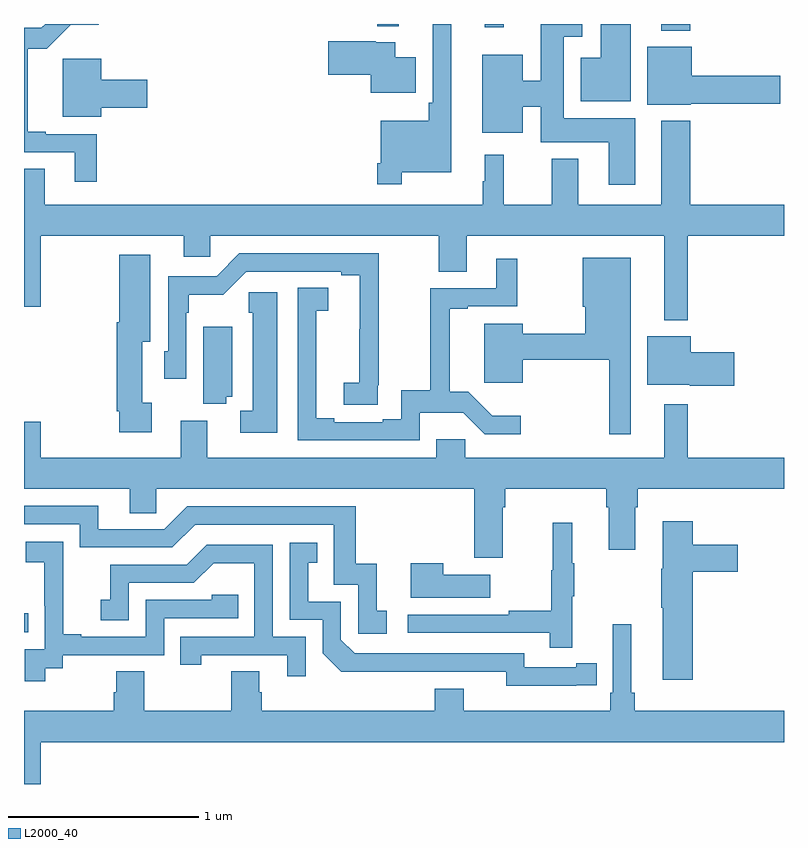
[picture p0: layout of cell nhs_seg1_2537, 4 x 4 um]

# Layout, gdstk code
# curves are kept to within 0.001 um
import gdstk
lib = gdstk.Library(unit=1e-6, precision=1e-09)
def R(c, l, rs):  # rectangles x0, y0, x1, y1
    for r in rs: c.add(gdstk.rectangle(r[:2], r[2:], *l))
def P(c, l, *ps):  # polygons
    for p in ps: c.add(gdstk.Polygon(p, *l))
L2000_40 = (2000, 40)

nhs_seg1_2537 = lib.new_cell('nhs_seg1_2537')
R(nhs_seg1_2537, L2000_40, [(249,530.997,249.023,531.098), (252.353,534.164,252.506,534.199), (251.426,534.183,251.525,534.199), (250.86,534.188,250.973,534.199)])
P(nhs_seg1_2537, L2000_40, [(249.383,533.619),(249.115,533.619),(249.115,533.632),(249.02,533.632),(249.02,534.069),(249.119,534.069),(249.245,534.194),(249.394,534.194),(249.394,534.199),(249.112,534.199),(249.091,534.178),(249,534.178),(249,533.523),(249.266,533.523),(249.266,533.37),(249.383,533.37)],
  [(250.987,533.42),(251.248,533.42),(251.248,534.199),(251.151,534.199),(251.151,533.785),(251.131,533.785),(251.131,533.689),(250.878,533.689),(250.878,533.467),(250.858,533.467),(250.858,533.355),(250.987,533.355)],
  [(252.217,533.704),(251.842,533.704),(251.842,534.131),(251.938,534.131),(251.938,534.199),(251.72,534.199),(251.72,533.9),(251.626,533.9),(251.626,534.037),(251.411,534.037),(251.411,533.627),(251.626,533.627),(251.626,533.764),(251.72,533.764),(251.72,533.576),(252.077,533.576),(252.077,533.352),(252.217,533.352)],
  [(252.193,534.199),(252.035,534.199),(252.035,534.022),(251.93,534.022),(251.93,533.792),(252.193,533.792)],
  [(251.062,534.025),(250.954,534.025),(250.954,534.103),(250.85,534.103),(250.85,534.108),(250.602,534.108),(250.602,533.933),(250.826,533.933),(250.826,533.837),(251.062,533.837)],
  [(252.51,533.78),(252.979,533.78),(252.979,533.927),(252.514,533.927),(252.514,534.079),(252.281,534.079),(252.281,533.774),(252.51,533.774)],
  [(249.406,533.759),(249.649,533.759),(249.649,533.906),(249.406,533.906),(249.406,534.016),(249.203,534.016),(249.203,533.711),(249.406,533.711)],
  [(252.493,533.084),(253,533.084),(253,533.248),(252.506,533.248),(252.506,533.689),(252.353,533.689),(252.353,533.248),(251.917,533.248),(251.917,533.491),(251.777,533.491),(251.777,533.248),(251.526,533.248),(251.526,533.512),(251.426,533.512),(251.426,533.372),(251.415,533.372),(251.415,533.248),(249.109,533.248),(249.109,533.438),(249,533.438),(249,532.71),(249.088,532.71),(249.088,533.084),(249.842,533.084),(249.842,532.974),(249.981,532.974),(249.981,533.084),(251.182,533.084),(251.182,532.894),(251.329,532.894),(251.329,533.084),(252.371,533.084),(252.371,532.64),(252.493,532.64)],
  [(250.862,532.297),(250.868,532.297),(250.868,532.992),(250.134,532.992),(250.014,532.872),(249.759,532.872),(249.759,532.476),(249.738,532.476),(249.738,532.332),(249.855,532.332),(249.855,532.679),(249.868,532.679),(249.868,532.775),(250.049,532.775),(250.17,532.896),(250.67,532.896),(250.67,532.876),(250.766,532.876),(250.765,532.31),(250.683,532.31),(250.683,532.195),(250.862,532.195)],
  [(249.673,532.206),(249.622,532.206),(249.622,532.526),(249.664,532.526),(249.664,532.984),(249.5,532.984),(249.5,532.63),(249.488,532.63),(249.488,532.162),(249.5,532.162),(249.5,532.05),(249.673,532.05)],
  [(252.193,532.969),(251.942,532.969),(251.942,532.71),(251.954,532.71),(251.954,532.568),(251.626,532.568),(251.626,532.621),(251.423,532.621),(251.423,532.311),(251.626,532.311),(251.626,532.432),(252.079,532.432),(252.079,532.041),(252.193,532.041)],
  [(251.082,532.154),(251.311,532.154),(251.424,532.041),(251.614,532.041),(251.614,532.138),(251.465,532.138),(251.339,532.264),(251.24,532.264),(251.24,532.701),(251.335,532.701),(251.335,532.713),(251.596,532.713),(251.596,532.963),(251.486,532.963),(251.486,532.809),(251.137,532.809),(251.137,532.271),(250.986,532.271),(250.986,532.118),(250.889,532.118),(250.889,532.104),(250.633,532.104),(250.633,532.124),(250.537,532.124),(250.537,532.387),(250.539,532.387),(250.539,532.691),(250.6,532.691),(250.6,532.811),(250.44,532.811),(250.44,532.008),(251.082,532.008)],
  [(250.333,532.786),(250.183,532.786),(250.183,532.68),(250.205,532.68),(250.205,532.164),(250.137,532.164),(250.137,532.049),(250.333,532.049)],
  [(250.064,532.238),(250.096,532.238),(250.096,532.606),(249.944,532.606),(249.944,532.201),(250.064,532.201)],
  [(252.739,532.472),(252.508,532.472),(252.508,532.555),(252.281,532.555),(252.281,532.301),(252.504,532.301),(252.504,532.294),(252.739,532.294)],
  [(251.521,531.656),(251.534,531.656),(251.534,531.752),(252.065,531.752),(252.065,531.656),(252.077,531.656),(252.077,531.432),(252.217,531.432),(252.217,531.656),(252.23,531.656),(252.23,531.752),(253,531.752),(253,531.916),(252.493,531.916),(252.493,532.198),(252.371,532.198),(252.371,531.916),(251.323,531.916),(251.323,532.014),(251.171,532.014),(251.171,531.916),(249.964,531.916),(249.964,532.111),(249.824,532.111),(249.824,531.916),(249.088,531.916),(249.088,532.105),(249,532.105),(249,531.752),(249.557,531.752),(249.557,531.625),(249.696,531.625),(249.696,531.752),(251.369,531.752),(251.369,531.39),(251.521,531.39)],
  [(250.909,531.111),(250.856,531.111),(250.856,531.358),(250.745,531.358),(250.745,531.66),(249.858,531.66),(249.738,531.54),(249.391,531.54),(249.391,531.663),(249,531.663),(249,531.567),(249.294,531.567),(249.294,531.444),(249.78,531.444),(249.9,531.564),(250.629,531.564),(250.629,531.249),(250.758,531.249),(250.758,530.991),(250.909,530.991)],
  [(252.521,531.317),(252.757,531.317),(252.757,531.459),(252.521,531.459),(252.521,531.583),(252.362,531.583),(252.362,531.333),(252.355,531.333),(252.355,531.127),(252.362,531.127),(252.362,530.748),(252.521,530.748)],
  [(251.885,531.187),(251.896,531.187),(251.896,531.361),(251.885,531.361),(251.885,531.574),(251.782,531.574),(251.782,531.324),(251.775,531.324),(251.775,531.11),(251.551,531.11),(251.551,531.09),(251.019,531.09),(251.019,530.994),(251.767,530.994),(251.767,530.916),(251.885,530.916)],
  [(249.112,530.809),(249.204,530.809),(249.204,530.877),(249.738,530.877),(249.738,531.072),(250.127,531.072),(250.127,531.195),(249.987,531.195),(249.987,531.168),(249.642,531.168),(249.642,530.973),(249.301,530.973),(249.301,530.986),(249.206,530.986),(249.206,531.269),(249.207,531.269),(249.207,531.475),(249.009,531.475),(249.009,531.365),(249.107,531.365),(249.107,531.137),(249.108,531.137),(249.108,530.907),(249.003,530.907),(249.003,530.739),(249.112,530.739)],
  [(251.906,530.718),(252.014,530.718),(252.014,530.834),(251.906,530.834),(251.906,530.814),(251.634,530.814),(251.634,530.886),(250.74,530.886),(250.668,530.958),(250.668,531.159),(250.495,531.159),(250.495,531.363),(250.544,531.363),(250.544,531.469),(250.398,531.469),(250.398,531.063),(250.572,531.063),(250.572,530.886),(250.67,530.789),(251.538,530.79),(251.538,530.717)],
  [(250.482,530.973),(250.308,530.973),(250.308,531.459),(249.962,531.459),(249.857,531.354),(249.454,531.354),(249.454,531.169),(249.405,531.169),(249.405,531.06),(249.552,531.06),(249.552,531.258),(249.894,531.258),(249.998,531.362),(250.212,531.362),(250.212,530.973),(249.823,530.973),(249.823,530.826),(249.934,530.826),(249.934,530.877),(250.385,530.877),(250.385,530.766),(250.482,530.766)],
  [(251.455,531.301),(251.207,531.301),(251.207,531.361),(251.036,531.361),(251.036,531.179),(251.455,531.179)],
  [(253,530.584),(252.215,530.584),(252.215,530.68),(252.196,530.68),(252.196,531.04),(252.099,531.04),(252.099,530.68),(252.086,530.68),(252.086,530.584),(251.314,530.584),(251.314,530.701),(251.162,530.701),(251.162,530.584),(250.25,530.584),(250.25,530.682),(250.237,530.682),(250.237,530.792),(250.09,530.792),(250.09,530.584),(249.633,530.584),(249.633,530.792),(249.485,530.792),(249.485,530.682),(249.473,530.682),(249.473,530.584),(249,530.584),(249,530.199),(249.088,530.199),(249.088,530.42),(253,530.42)])

lib.write_gds('nhs_seg1_2537.gds')
